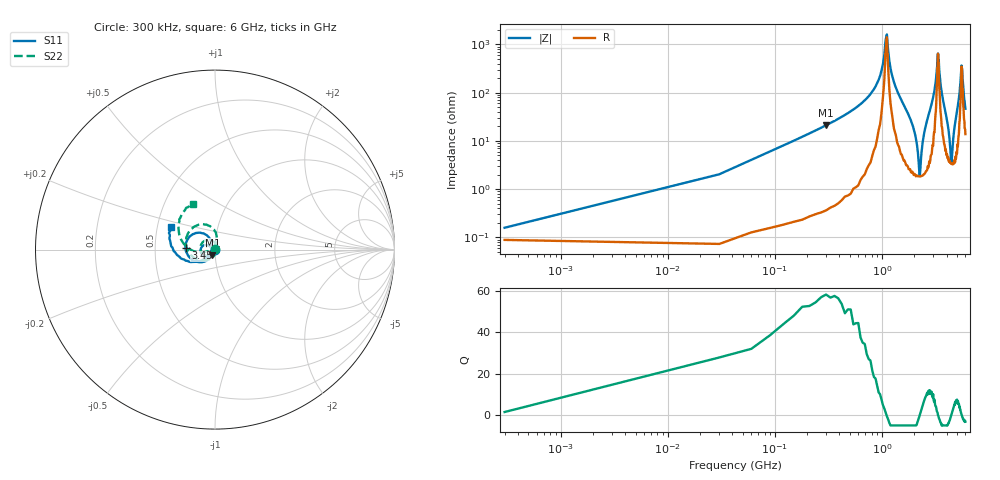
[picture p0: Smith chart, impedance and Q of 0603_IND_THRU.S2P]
!Agilent Technologies,E5071C,MY46106283,A.09.10
!Date: Wed Jan 24 00:06:01 2001
!Data & Calibration Information:
!Freq	S11:SOLT2(ON)	S41:SOLT2(ON)	S14:SOLT2(ON)	S44:SOLT2(ON)
# Hz S dB R 50
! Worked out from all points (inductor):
!   201 points, 300 kHz to 6 GHz, reference 50 ohm
!   read as 1/Y11, port 2 shorted: L = 10.7 nH near 30.3 MHz
!   highest Q = 56.8 at 300.3 MHz (marker M1), where L = 11.2 nH
!   self-resonance near 1.08 GHz
!   S11 on the Smith chart (normalised r, x): 300 kHz: 1.00, -0.00; 3.45 GHz: 0.72, +0.01; 6 GHz: 0.59, +0.16
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300000  -55.18 -36.7  -0.01 -0.1  -0.01 -0.1  -56.13 82.8
3.02985e7  -47.77 -92.8  -0.01 -2.6  -0.01 -2.6  -47.93 -89.3
9.02955e7  -39.22 -96.3  -0.03 -7.5  -0.03 -7.6  -39.10 -99.0
3.00285e8  -29.03 -114.7  -0.07 -24.7  -0.08 -24.7  -29.01 -121.2
6.902655e8  -23.27 -144.9  -0.16 -56.2  -0.16 -56.2  -23.26 -157.3
1.020249e9  -21.90 -168.7  -0.24 -82.7  -0.23 -82.7  -21.79 171.9
1.620219e9  -24.57 153.8  -0.30 -130.7  -0.29 -130.8  -24.55 114.6
1.830208e9  -28.14 147.4  -0.33 -147.6  -0.32 -147.7  -28.66 90.4
2.0102e9  -33.68 160.9  -0.34 -162.2  -0.34 -162.3  -36.16 49.2
2.100195e9  -35.65 -167.7  -0.36 -169.5  -0.36 -169.6  -39.92 -19.1
2.280186e9  -29.93 -123.3  -0.40 176.1  -0.40 176.0  -29.85 -95.9
2.460177e9  -24.80 -121.7  -0.46 161.6  -0.46 161.6  -24.20 -120.1
3.00015e9  -17.65 -151.5  -0.55 118.9  -0.54 119.0  -16.98 -170.6
3.450128e9  -15.69 177.1  -0.71 83.5  -0.67 83.3  -15.14 150.7
4.020099e9  -17.27 137.1  -0.66 37.4  -0.62 37.3  -17.22 104.6
4.380081e9  -22.46 116.4  -0.65 8.4  -0.66 8.1  -23.46 81.4
4.620069e9  -31.97 136.6  -0.72 -11.5  -0.72 -11.6  -35.91 132.5
4.680066e9  -34.35 168.6  -0.76 -16.2  -0.76 -16.2  -32.89 172.5
4.830058e9  -26.82 -140.7  -0.82 -28.9  -0.79 -28.8  -24.28 -166.6
5.01005e9  -20.83 -140.4  -0.86 -42.5  -0.85 -42.4  -19.08 -174.3
5.61002e9  -12.76 -177.9  -1.02 -89.9  -0.85 -90.1  -12.04 144.0
6e9  -11.17 153.0  -1.00 -120.1  -0.92 -121.2  -10.94 116.1
